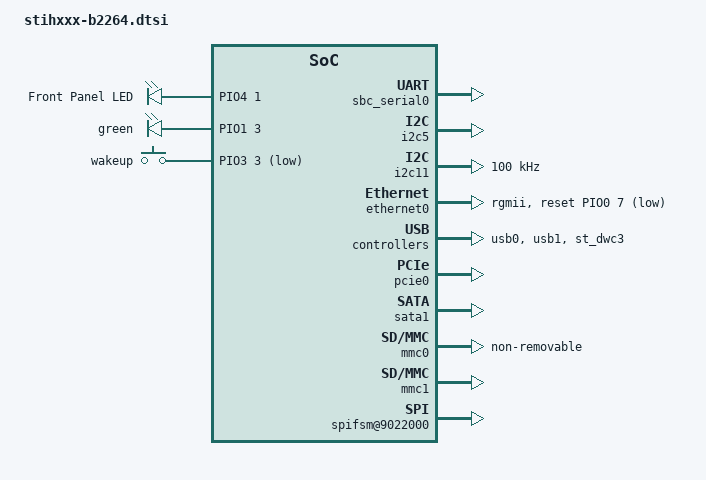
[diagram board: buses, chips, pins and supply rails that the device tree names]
/*
 * Copyright (C) 2017 STMicroelectronics (R&D) Limited.
 *
 * This program is free software; you can redistribute it and/or modify
 * it under the terms of the GNU General Public License version 2 as
 * published by the Free Software Foundation.
 */
/ {

	chosen {
		bootargs = "console=ttyAS0,115200 earlyprintk ignore_loglevel";
		linux,stdout-path = &sbc_serial0;
	};

	aliases {
		ttyAS0 = &sbc_serial0;
		ethernet0 = &ethernet0;
		usb0 = &usb0;
		usb1 = &usb1;
	};

	sound {
		compatible = "st,snd-soc-sti";
		status = "okay";
		st,card-name = "sti audio card";

		st,asoc-platform = <&sti_asoc_platform>;
		st,backend-name  = "HDMI_out", "PCM_out",
				   "Analog_out", "spdif",
				   "PCM_in", "HDMI_in";
		st,backend-cpu-dai = <&snd_uni_player0 &snd_uni_player1
				      &snd_uni_player2 &snd_uni_player3
				      &snd_uni_reader0 &snd_uni_reader1 >;
		st,backend-codec = <&sti_sasg_codec &sti_sasg_codec
				    &sti_sasg_codec &sti_sasg_codec
				    &sti_sasg_codec &sti_sasg_codec>;
		st,backend-codec-dai = "sas-dai-dummy", "sas-dai-dummy",
				       "sas-dai-dac", "sas-dai-spdif-out",
				       "sas-dai-dummy","sas-dai-dummy";
	};

	soc {
		sbc_serial0: serial@9530000 {
			status = "okay";
		};

		leds {
			compatible = "gpio-leds";
			red {
				#gpio-cells = <2>;
				label = "Front Panel LED";
				gpios = <&PIO4 1 0>;
				linux,default-trigger = "heartbeat";
			};
			green {
				#gpio-cells = <2>;
				gpios = <&PIO1 3 0>;
				default-state = "off";
			};
		};

		rc: rc@09518000 {
			status = "okay";
		};

		/* SSC5 to STV6440,  PCIe connector, I2C Eeprom */
		i2c5: i2c@9845000 {
			status = "okay";
		};

		/* SSC11 to HDMI */
		i2c11: i2c@9541000 {
			status = "okay";
			/* HDMI V1.3a supports Standard mode only */
			clock-frequency = <100000>;
			st,i2c-min-scl-pulse-width-us = <0>;
			st,i2c-min-sda-pulse-width-us = <1>;
		};

		gmac1 {
			rgmii1-0 {
				st,pins {
					rxclk = <&PIO2 2 ALT1 IN NICLK 1000 CLK_A>;
				};
			};
		};

		ethernet0: dwmac@9630000 {
			st,tx-retime-src = "clkgen";
			status = "okay";
			phy-mode = "rgmii";
			pinctrl-0 = <&pinctrl_rgmii1 &pinctrl_rgmii1_mdio>;

			snps,phy-bus-name = "stmmac";
			snps,phy-bus-id = <0>;
			snps,phy-addr = <0x04>;
			snps,reset-gpio = <&PIO0 7 0>;
			snps,reset-active-low;
			snps,reset-delays-us = <0 10000 1000000>;
		};

		pin-controller-sbc {
			gmac1 {
				rgmii1-0 {
					st,pins {
						rxd0 = <&PIO1 4 ALT1 IN DE_IO 250 CLK_A>;
						rxd1 = <&PIO1 5 ALT1 IN DE_IO 250 CLK_A>;
						rxd2 = <&PIO1 6 ALT1 IN DE_IO 250 CLK_A>;
						rxd3 = <&PIO1 7 ALT1 IN DE_IO 250 CLK_A>;
						rxdv = <&PIO2 0 ALT1 IN DE_IO 250 CLK_A>;
					};
				};
			};
		};

		usb0: usb@9A00000 {
			status = "okay";
		};

		usb1: usb@9A80000 {
			status = "okay";
		};

		st_dwc3: dwc3@8f94000 {
			status = "okay";
		};

		miphy28lp_phy0: miphy28lp@0 {
                        status = "okay";
                };

		miphy28lp_phy1: miphy28lp@1 {
			status = "okay";
			/* SATA via B2136 MiniPCIe to eSATA/SATA board */
			st,sata_gen = "gen3";
		};

		pcie0: pcie@9b00000 {
			/* Override "lmi mem window" size : 3GB */
			reg = <0x09b00000 0x00001000
			       0x2fff0000 0x00010000
			       0x40000000 0xc0000000   /* lmi mem window */
			       0xd8 0x04
			       0xe0 0x04>;
			status = "okay";
		};

		pcie1: pcie@9b10000 {
			/* Override "lmi mem window" size : 3GB */
			reg = <0x09b10000 0x00001000
			       0x3fff0000 0x00010000
			       0x40000000 0xc0000000   /* lmi mem window */
			       0xdc 0x04
			       0xe4 0x04>;
		};

		sata1: sata@9b28000 {
			status = "okay";
		};

		mmc0: sdhci@09060000 {
			status = "okay";
			non-removable;
		};

		mmc1: sdhci@09080000 {
			status = "okay";
		};

		/* Uniperipheral*/
		snd_uni_player0: snd-uni-player@0 {
			status = "okay";
		};

		snd_uni_player1: snd-uni-player@1 {
			status = "okay";
			channels = <2>;
			pinctrl-names = "default";
			pinctrl-0 = <&pinctrl_i2s_2ch_out>;
		};

		snd_uni_player2: snd-uni-player@2 {
			status = "okay";
		};

		snd_uni_player3: snd-uni-player@3 {
			status = "okay";
		};

		snd_uni_reader0: snd-uni-reader@0 {
			status = "okay";
			channels = <2>;
			pinctrl-names = "default";
			pinctrl-0 = <&pinctrl_i2s_2ch_in>;
		};

		snd_uni_reader1: snd-uni-reader@1 {
			status = "okay";
		};

		gpio_keys {
			status = "okay";
			compatible = "gpio-keys";
			#address-cells = <1>;
			#size-cells = <0>;
			button@1 {
				label = "wakeup";
				linux,code = <41>;
				gpios = <&PIO3 3 1>;
				gpio-key,wakeup;
			};
		};

		spifsm@9022000 {
			status = "okay";
			flash-name = "n25q256";
			partitions = <&b2264_fsm_partitions>;

			b2264_fsm_partitions: partitions-b2264 {
				#address-cells = <1>;
				#size-cells = <1>;
				partition@0 {
					label = "boot";
					/* 20M */
					reg = <0x00000000 0x01400000>;
				};
				partition@a00000 {
					label = "rest";
					/* 12M */
					reg = <0x01400000 0x00c00000>;
				};
			};
		};

		nandbch: nand-bch {
			status = "disabled";
			st,nand-banks = <&nand_banks>;
		};

		nand_banks: nand-banks {
			bank0 {
				/* NAND_BBT_USE_FLASH (4Gbit) */
				nand-on-flash-bbt;
				nand-no-autoincr;
				st,nand-cs = <0>;
				st,nand-timing-data = <&nand_timing0>;
				partitions {
					#address-cells = <1>;
					#size-cells = <1>;
					partition@0{
						label = "NAND Flash 1";
						reg = <0x00000000 0x1e000000>;
					};
				};
			};
		};

		nand_timing0: nand-timing {
			sig-setup = <10>;
			sig-hold = <10>;
			CE-deassert = <0>;
			WE-to-RBn = <100>;
			wr-on = <10>;
			wr-off = <30>;
			rd-on = <10>;
			rd-off = <30>;
			chip-delay = <30>;		/* delay in us */
		};

		lpm:stm-lpm@9400000 {
			status = "okay";
			gpios = <&PIO3 2 0>;
			st,lmi-ret-gpio = <&PIO5 2 0>;

			st_wakeup_pin.ext_it {
				compatible = "st,wakeup-pins";
				status = "disabled";
				pinctrl-names = "default";
				pinctrl-0 = <&pinctrl_wk_pin>;
				wkpin@0 {
					interrupts = <GIC_SPI 184 IRQ_TYPE_EDGE_RISING>;
					label = "ext_it_wakeup";
					st,pio_use = <EXT_IT_WAKEUP_MODE>;
					st,ext_it_num = <2>;
				};
			};

			st_wakeup_pin.pio {
				compatible = "st,wakeup-pins";
				status = "disabled";
				wkpin@0 {
					label = "pio_wakeup";
					gpios = <&PIO3 3 0>;
					st,pio_use = <PIO_WAKEUP_MODE>;
					st,pio_dir = <GPIO_AS_INPUT>;
					st,int_enabled;
				};
			};

			st_wakeup_pin.pio_polling {
				compatible = "st,wakeup-pins";
				status = "disabled";
				wkpin@0 {
					label = "pio_polling_wakeup";
					gpios = <&PIO3 3 0>;
					st,pio_use = <PIO_WAKEUP_MODE>;
					st,pio_dir = <GPIO_AS_INPUT>;
					st,pio_level = <GPIO_ACTIVE_LOW>;
				};
			};


		};
	};
};
